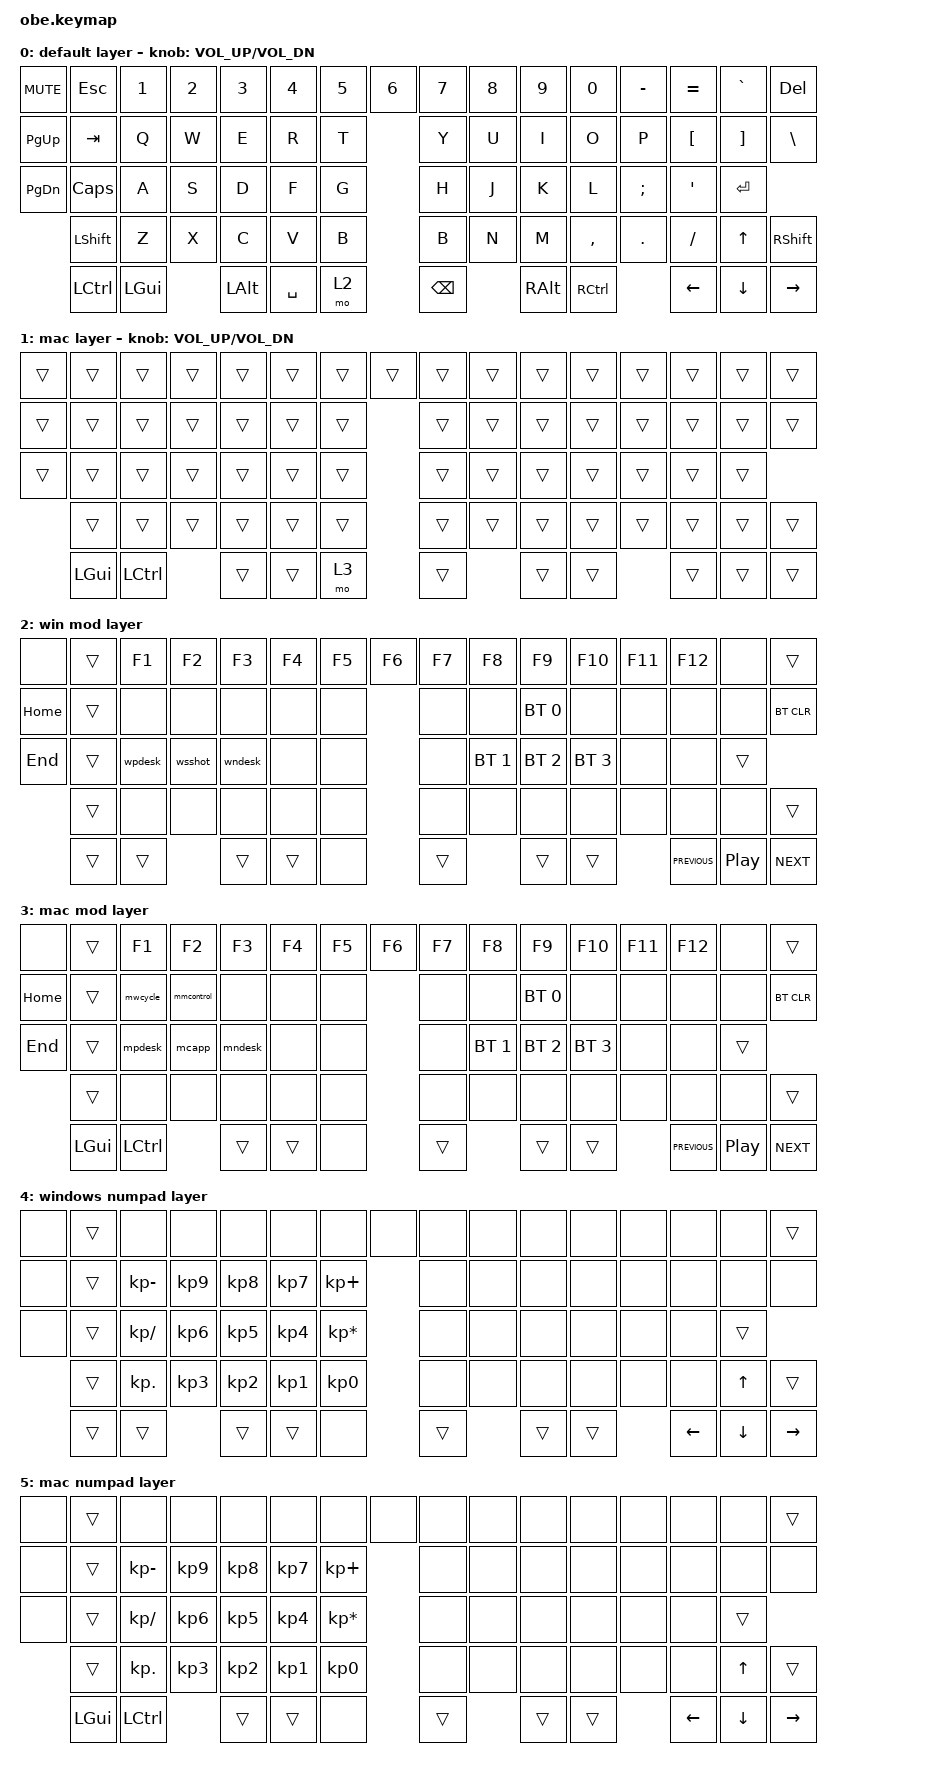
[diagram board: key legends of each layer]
/*
 * Copyright (c) 2023 The ZMK Contributors
 *
 * SPDX-License-Identifier: MIT
 */

#include <behaviors.dtsi>
#include <dt-bindings/zmk/keys.h>
#include <dt-bindings/zmk/bt.h>
#include <dt-bindings/zmk/rgb.h>
#include <dt-bindings/zmk/ext_power.h>

#define TIMEOUT 300

/ {
    combos {
        combo_lock {
            timeout-ms = <TIMEOUT>;
            key-positions = <1 7>;
            bindings = <&tog 6>;
        };
        combo_reset {
            timeout-ms = <TIMEOUT>;
            key-positions = <1 3>;
            bindings = <&sys_reset>;
        };
        combo_bootloader {
            timeout-ms = <TIMEOUT>;
            key-positions = <1 15>;
            bindings = <&bootloader>;
        };
    };

    macros {
        wsshot: wsshot {
            label = "Windows screenshot";
            compatible = "zmk,behavior-macro";
            #binding-cells = <0>;
            bindings =
				<&macro_press &kp LSHFT &kp LGUI>,
                <&macro_tap &kp S>,
                <&macro_release &kp LSHFT &kp LGUI>;
        };

        wpdesk: wpdesk {
            label = "Windows previous desktop";
            compatible = "zmk,behavior-macro";
            #binding-cells = <0>;
            bindings =
				<&macro_press &kp LCTRL &kp LGUI>,
                <&macro_tap &kp LEFT>,
                <&macro_release &kp LCTRL &kp LGUI>;
        };

		wndesk: wndesk {
			label = "Windows next desktop";
            compatible = "zmk,behavior-macro";
            #binding-cells = <0>;
            bindings =
				<&macro_press &kp LCTRL &kp LGUI>,
                <&macro_tap &kp RIGHT>,
                <&macro_release &kp LCTRL &kp LGUI>;
		};      

		mpdesk: mpdesk {
			label = "Mac previous desktop";
            compatible = "zmk,behavior-macro";
            #binding-cells = <0>;
            bindings =
				<&macro_press &kp LCTRL>,
                <&macro_tap &kp LEFT>,
                <&macro_release &kp LCTRL>;
		};

		mndesk: mndesk {
			label = "Mac next desktop";
            compatible = "zmk,behavior-macro";
            #binding-cells = <0>;
            bindings =
				<&macro_press &kp LCTRL>,
                <&macro_tap &kp RIGHT>,
                <&macro_release &kp LCTRL>;
		};

		mmcontrol: mmcontrol {
			label = "Mac mission control";
            compatible = "zmk,behavior-macro";
            #binding-cells = <0>;
            bindings =
				<&macro_press &kp LCTRL>,
                <&macro_tap &kp UP>,
                <&macro_release &kp LCTRL>;
		};

		mcapp: mcapp {
			label = "Mac windows in current app";
            compatible = "zmk,behavior-macro";
            #binding-cells = <0>;
            bindings =
				<&macro_press &kp LCTRL>,
                <&macro_tap &kp DOWN>,
                <&macro_release &kp LCTRL>;
		};

		mwcycle: mwcycle {
			label = "Same app window cycle";
            compatible = "zmk,behavior-macro";
            #binding-cells = <0>;
            bindings =
				<&macro_press &kp LGUI>,
                <&macro_tap &kp GRAVE>,
                <&macro_release &kp LCTRL>;
		};
	};

    keymap0: keymap {
        compatible = "zmk,keymap";

        // |||||/----\|||||    --------------------------------------------------------------------------
        // |VOLU|MUTE|VOLD|   |ESC | 1  | 2  | 3  | 4  | 5  | 6  | 7  | 8  | 9  | 0  | -  | =  | `  |DEL |
        // |||||\----/|||||   ----------------------------------------------------------------------------
        //      |PGUP|       | TAB  | Q  | W  | E  | R  | T  |||| Y  | U  | I  | O  | P  | [  | ]  |  \   |
        //      |----|       |--------------------------------|||-----------------------------------------|
        //      |PGDN|       |C. LOCK| A  | S  | D  | F  | G  ||||| H  | J  | K  | L  | ;  | '  |  ENTER  |
        //       ----        ---------------------------------|||------------------------------------------
        //                  | LSHIFT  | Z  | X  | C  | V  | B  || B  | N  | M  | ,  | .  | /  | UP |RSHIFT |
        //                   ------------------------------------------------------------------------------
        //                   |LCTRL|LGUI ||||LALT |  SPACE  |MO 2|| BACKSPACE |RALT||RCTRL|LEFT|DOWN|RGHT|
        //                    --------------------------------------------------------------------------
        default_layer {
            label = "default layer";
            bindings = <
                &kp C_MUTE &kp ESC   &kp N1   &kp N2   &kp N3   &kp N4    &kp N5 &kp N6           &kp N7   &kp N8 &kp N9    &kp N0    &kp MINUS &kp EQUAL &kp GRAVE &kp DEL
                &kp PG_UP  &kp TAB   &kp Q    &kp W    &kp E    &kp R     &kp T                   &kp Y    &kp U  &kp I     &kp O     &kp P     &kp LBKT  &kp RBKT  &kp BSLH
                &kp PG_DN  &kp CAPS  &kp A    &kp S    &kp D    &kp F     &kp G                   &kp H    &kp J  &kp K     &kp L     &kp SEMI  &kp APOS  &kp ENTER
                           &kp LSHFT &kp Z    &kp X    &kp C    &kp V     &kp B                   &kp B    &kp N  &kp M     &kp COMMA &kp DOT   &kp FSLH  &kp UP    &kp RSHFT
                           &kp LCTRL &kp LGUI          &kp LALT &kp SPACE &mo 2                   &kp BSPC        &kp RALT  &kp RCTRL           &kp LEFT  &kp DOWN  &kp RIGHT
            >;
            sensor-bindings = <&inc_dec_kp C_VOL_UP C_VOL_DN>;
        };
        
        // |||||/----\|||||    --------------------------------------------------------------------------
        // |VOLU|MUTE|VOLD|   |ESC | 1  | 2  | 3  | 4  | 5  | 6  | 7  | 8  | 9  | 0  | -  | =  | `  |DEL |
        // |||||\----/|||||   ----------------------------------------------------------------------------
        //      |PGUP|       | TAB  | Q  | W  | E  | R  | T  |||| Y  | U  | I  | O  | P  | [  | ]  |  \   |
        //      |----|       |--------------------------------|||-----------------------------------------|
        //      |PGDN|       |C. LOCK| A  | S  | D  | F  | G  ||||| H  | J  | K  | L  | ;  | '  |  ENTER  |
        //       ----        ---------------------------------|||------------------------------------------
        //                  | LSHIFT  | Z  | X  | C  | V  | B  || B  | N  | M  | ,  | .  | /  | UP |RSHIFT |
        //                   ------------------------------------------------------------------------------
        //                   |LGUI |LCTRL||||LALT |  SPACE  |MO 3|| BACKSPACE |RALT||RCTRL|LEFT|DOWN|RGHT|
        //                    --------------------------------------------------------------------------
        mac_layer {
            label = "mac layer";
            bindings = <
                &trans &trans    &trans    &trans &trans &trans &trans &trans        &trans &trans &trans &trans &trans &trans &trans &trans
                &trans &trans    &trans    &trans &trans &trans &trans               &trans &trans &trans &trans &trans &trans &trans &trans
                &trans &trans    &trans    &trans &trans &trans &trans               &trans &trans &trans &trans &trans &trans &trans
                       &trans    &trans    &trans &trans &trans &trans               &trans &trans &trans &trans &trans &trans &trans &trans
                       &kp LGUI  &kp LCTRL        &trans &trans &mo 3                &trans        &trans &trans        &trans &trans &trans
            >;
            sensor-bindings = <&inc_dec_kp C_VOL_UP C_VOL_DN>;
        };
        
        // |||||/----\|||||    --------------------------------------------------------------------------
        // |    |    |    |   |ESC | F1 | F2 | F3 | F4 | F5 | F5 | F6 | F7 | F8 | F9 |F10 |F11 |F12 |DEL |
        // |||||\----/|||||   ----------------------------------------------------------------------------
        //      |HOME|       | TAB  |    |    |    |    |    ||||    |    |BT0|    |    |    |    |BT_CLR|
        //      |----|       |--------------------------------|||-----------------------------------------|
        //      |END |       |C. LOCK|WPDe|WScS|WNDe|    |    |||||    |BT1|BT2|BT3|    |    |  ENTER  |
        //       ----        ---------------------------------|||------------------------------------------
        //                  | LSHIFT  |    |    |    |    |    ||    |    |    |    |    |    |    |RSHIFT |
        //                   ------------------------------------------------------------------------------
        //                   |LCTRL|LGUI ||||LALT |  SPACE  |    || BACKSPACE |RALT||RCTRL|CPREV |CPP |CNEXT |
        //                    --------------------------------------------------------------------------
        winmod_layer {
            label = "win mod layer";
            bindings = <
                &none    &trans &kp F1  &kp F2  &kp F3  &kp F4 &kp F5 &kp F6   &kp F7 &kp F8       &kp F9       &kp F10      &kp F11 &kp F12        &none            &trans
                &kp HOME &trans &none   &none   &none   &none  &none           &none  &none        &bt BT_SEL 0 &none        &none   &none          &none            &bt BT_CLR
                &kp END  &trans &wpdesk &wsshot &wndesk &none  &none           &none  &bt BT_SEL 1 &bt BT_SEL 2 &bt BT_SEL 3 &none   &none          &trans
                         &trans &none   &none   &none   &none  &none           &none  &none        &none        &none        &none   &none          &none            &trans
                         &trans &trans          &trans  &trans &none           &trans              &trans       &trans               &kp C_PREVIOUS &kp C_PLAY_PAUSE &kp C_NEXT
            >;
        };

        // |||||/----\|||||    --------------------------------------------------------------------------
        // |    |    |    |   |ESC | F1 | F2 | F3 | F4 | F5 | F5 | F6 | F7 | F8 | F9 |F10 |F11 |F12 |DEL |
        // |||||\----/|||||   ----------------------------------------------------------------------------
        //      |HOME|       | TAB  |WCyc|MCon|    |    |    ||||    |    |BT0 |    |    |    |    |BT_CLR|
        //      |----|       |--------------------------------|||-----------------------------------------|
        //      |END |       |C. LOCK|PDes|AppO|NDes|    |    |||||    |BT1 |BT2 |BT3 |    |    |  ENTER  |
        //       ----        ---------------------------------|||------------------------------------------
        //                  | LSHIFT  |    |    |    |    |    ||    |    |    |    |    |    |    |RSHIFT |
        //                   ------------------------------------------------------------------------------
        //                   |LGUI |LCTRL||||LALT |  SPACE  |    || BACKSPACE |RALT||RCTRL|CPREV|CPP |CNEXT|
        //                    --------------------------------------------------------------------------
        macmod_layer {
            label = "mac mod layer";
            bindings = <
                &none    &trans   &kp F1    &kp F2     &kp F3  &kp F4 &kp F5 &kp F6      &kp F7 &kp F8       &kp F9       &kp F10      &kp F11 &kp F12        &none            &trans
                &kp HOME &trans   &mwcycle  &mmcontrol &none   &none  &none              &none  &none        &bt BT_SEL 0 &none        &none   &none          &none            &bt BT_CLR
                &kp END  &trans   &mpdesk   &mcapp     &mndesk &none  &none              &none  &bt BT_SEL 1 &bt BT_SEL 2 &bt BT_SEL 3 &none   &none          &trans
                         &trans   &none     &none      &none   &none  &none              &none  &none        &none        &none        &none   &none          &none            &trans
                         &kp LGUI &kp LCTRL            &trans  &trans &none              &trans              &trans       &trans               &kp C_PREVIOUS &kp C_PLAY_PAUSE &kp C_NEXT
            >;
        };

        // |||||/----\|||||    --------------------------------------------------------------------------
        // |    |    |    |   |ESC |    |    |    |    |    |    |    |    |    |    |    |    |    |DEL |
        // |||||\----/|||||   ----------------------------------------------------------------------------
        //      |    |       | TAB  | -  | 9  | 8  | 7  | +  ||||    |    |    |    |    |    |    |      |
        //      |----|       |--------------------------------|||-----------------------------------------|
        //      |    |       |C. LOCK| /  | 6  | 5  | 4  | *  |||||    |    |    |    |    |    |  ENTER  |
        //       ----        ---------------------------------|||------------------------------------------
        //                  | LSHIFT  | .  | 3  | 2  | 1  | 0  ||    |    |    |    |    |    | UP |RSHIFT |
        //                   ------------------------------------------------------------------------------
        //                   |LCTRL|LGUI ||||LALT |  SPACE  |    || BACKSPACE |RALT||RCTRL|LEFT|DOWN|RGHT|
        //                    --------------------------------------------------------------------------
        winpad_layer {
            label = "windows numpad layer";
            bindings = <
                &none &trans &none        &none     &none     &none     &none           &none        &none  &none &none  &none  &none &none    &none    &trans
                &none &trans &kp KP_MINUS &kp KP_N9 &kp KP_N8 &kp KP_N7 &kp KP_PLUS                  &none  &none &none  &none  &none &none    &none    &none
                &none &trans &kp KP_SLASH &kp KP_N6 &kp KP_N5 &kp KP_N4 &kp KP_ASTERISK              &none  &none &none  &none  &none &none    &trans
                      &trans &kp KP_DOT   &kp KP_N3 &kp KP_N2 &kp KP_N1 &kp KP_N0                    &none  &none &none  &none  &none &none    &kp UP   &trans
                      &trans &trans                 &trans    &trans    &none                        &trans       &trans &trans       &kp LEFT &kp DOWN &kp RIGHT
            >;
        };

        // |||||/----\|||||    --------------------------------------------------------------------------
        // |    |    |    |   |ESC |    |    |    |    |    |    |    |    |    |    |    |    |    |DEL |
        // |||||\----/|||||   ----------------------------------------------------------------------------
        //      |    |       | TAB  | -  | 9  | 8  | 7  | +  ||||    |    |    |    |    |    |    |      |
        //      |----|       |--------------------------------|||-----------------------------------------|
        //      |    |       |C. LOCK| /  | 6  | 5  | 4  | *  |||||    |    |    |    |    |    |  ENTER  |
        //       ----        ---------------------------------|||------------------------------------------
        //                  | LSHIFT  | .  | 3  | 2  | 1  | 0  ||    |    |    |    |    |    | UP |RSHIFT |
        //                   ------------------------------------------------------------------------------
        //                   |LGUI |LCTRL||||LALT |  SPACE  |    || BACKSPACE |RALT||RCTRL|LEFT|DOWN|RGHT|
        //                    --------------------------------------------------------------------------
        macpad_layer {
            label = "mac numpad layer";
            bindings = <
                &none &trans   &none        &none     &none     &none     &none           &none        &none  &none &none  &none  &none &none    &none    &trans
                &none &trans   &kp KP_MINUS &kp KP_N9 &kp KP_N8 &kp KP_N7 &kp KP_PLUS                  &none  &none &none  &none  &none &none    &none    &none
                &none &trans   &kp KP_SLASH &kp KP_N6 &kp KP_N5 &kp KP_N4 &kp KP_ASTERISK              &none  &none &none  &none  &none &none    &trans
                      &trans   &kp KP_DOT   &kp KP_N3 &kp KP_N2 &kp KP_N1 &kp KP_N0                    &none  &none &none  &none  &none &none    &kp UP   &trans
                      &kp LGUI &kp LCTRL              &trans    &trans    &none                        &trans       &trans &trans       &kp LEFT &kp DOWN &kp RIGHT
            >;
        };
    };
};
